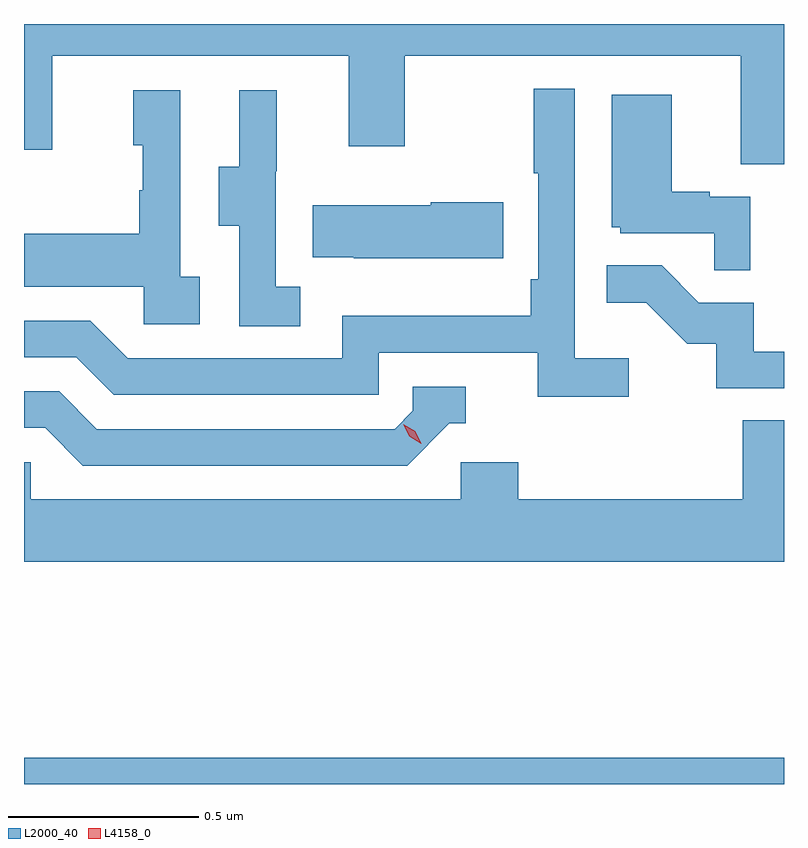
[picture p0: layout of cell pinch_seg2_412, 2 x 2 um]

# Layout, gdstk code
import gdstk
lib = gdstk.Library(unit=1e-6, precision=1e-09)
def R(c, l, rs):  # rectangles x0, y0, x1, y1
    for r in rs: c.add(gdstk.rectangle(r[:2], r[2:], *l))
def P(c, l, *ps):  # polygons
    for p in ps: c.add(gdstk.Polygon(p, *l))
L2000_40 = (2000, 40)
L4158_0 = (4158, 0)

pinch_seg2_412 = lib.new_cell('pinch_seg2_412')
R(pinch_seg2_412, L2000_40, [(984.753,615.083,986.753,615.152)])
P(pinch_seg2_412, L2000_40, [(986.753,617.083),(984.753,617.083),(984.753,616.752),(984.827,616.752),(984.827,617),(985.607,617),(985.607,616.761),(985.755,616.761),(985.755,617),(986.639,617),(986.639,616.714),(986.753,616.714)],
  [(986.344,616.204),(986.202,616.204),(986.202,616.912),(986.094,616.912),(986.094,616.69),(986.106,616.69),(986.106,616.411),(986.086,616.411),(986.086,616.315),(985.59,616.315),(985.59,616.203),(985.026,616.203),(984.927,616.302),(984.753,616.302),(984.753,616.206),(984.89,616.206),(984.989,616.107),(985.686,616.107),(985.686,616.218),(986.105,616.218),(986.105,616.102),(986.344,616.102)],
  [(985.216,616.418),(985.164,616.418),(985.164,616.909),(985.04,616.909),(985.04,616.764),(985.066,616.764),(985.066,616.646),(985.056,616.646),(985.056,616.531),(984.753,616.531),(984.753,616.391),(985.068,616.391),(985.068,616.293),(985.216,616.293)],
  [(985.48,616.391),(985.416,616.391),(985.416,616.695),(985.418,616.695),(985.418,616.909),(985.319,616.909),(985.319,616.707),(985.265,616.707),(985.265,616.552),(985.32,616.552),(985.32,616.288),(985.48,616.288)],
  [(986.664,616.629),(986.558,616.629),(986.558,616.642),(986.458,616.642),(986.458,616.897),(986.3,616.897),(986.3,616.548),(986.322,616.548),(986.322,616.533),(986.569,616.533),(986.569,616.435),(986.664,616.435)],
  [(986.014,616.614),(985.823,616.614),(985.823,616.606),(985.513,616.606),(985.513,616.469),(985.621,616.469),(985.621,616.466),(986.014,616.466)],
  [(986.753,616.221),(986.673,616.221),(986.673,616.35),(986.529,616.35),(986.431,616.448),(986.287,616.448),(986.287,616.349),(986.391,616.349),(986.498,616.242),(986.575,616.242),(986.575,616.125),(986.753,616.125)],
  [(985.872,616.032),(985.915,616.032),(985.915,616.128),(985.776,616.128),(985.776,616.065),(985.728,616.017),(984.945,616.017),(984.846,616.116),(984.753,616.116),(984.753,616.02),(984.809,616.02),(984.908,615.921),(985.761,615.921)],
  [(986.753,616.04),(986.645,616.04),(986.645,615.832),(986.054,615.832),(986.054,615.93),(985.902,615.93),(985.902,615.832),(984.771,615.832),(984.771,615.93),(984.753,615.93),(984.753,615.668),(986.753,615.668)])
P(pinch_seg2_412, L4158_0, [(985.798,615.978),(985.767,615.998),(985.751,616.03),(985.751,616.03),(985.751,616.03),(985.782,616.011),(985.799,615.978),(985.799,615.978)])

lib.write_gds('pinch_seg2_412.gds')
